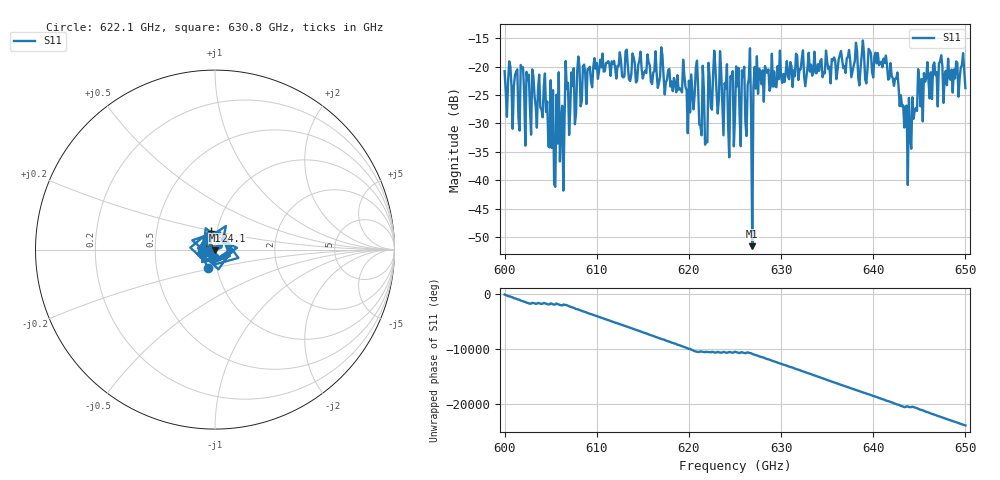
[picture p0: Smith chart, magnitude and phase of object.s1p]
!Created with skrf (http://scikit-rf.org).
# GHz S MA R 50.0
!freq magS11 angS11
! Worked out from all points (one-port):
!   401 points, 600 GHz to 650 GHz, reference 50 ohm
!   lowest |S11| = -51.6 dB at 626.9 GHz (marker M1), VSWR 1.01, Z = 50 - j0.259 ohm
!   |S11| at or under -10 dB: start of sweep to end of sweep
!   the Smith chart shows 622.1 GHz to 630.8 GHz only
!   S11 on the Smith chart (normalised r, x): 622.1 GHz: 0.90, -0.18; 624.1 GHz: 0.94, +0.19; 630.8 GHz: 0.85, -0.03
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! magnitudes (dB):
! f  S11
! 600 GHz  -20.8
! 604.4 GHz  -21.2
! 605.4 GHz  -40.7
! 605.9 GHz  -21.0
! 606.2 GHz  -26.9
! 606.9 GHz  -22.9
! 612.5 GHz  -17.5
! 618.8 GHz  -21.5
! 619.5 GHz  -21.5
! 619.9 GHz  -31.7
! 620.8 GHz  -20.3
! 621.6 GHz  -24.1
! 622.1 GHz  -19.3
! 622.8 GHz  -17.2
! 624.1 GHz  -19.6
! 625 GHz  -28.8
! 626.5 GHz  -22.2
! 626.6 GHz  -16.8
! 626.9 GHz  -51.6
! 627 GHz  -23.7
! 627.4 GHz  -18.2
! 630.8 GHz  -21.8
! 631.2 GHz  -23.6
! 637.5 GHz  -19.0
! 641.2 GHz  -19.4
! 643.8 GHz  -40.8
! 645.8 GHz  -22.0
! 650 GHz  -23.8
